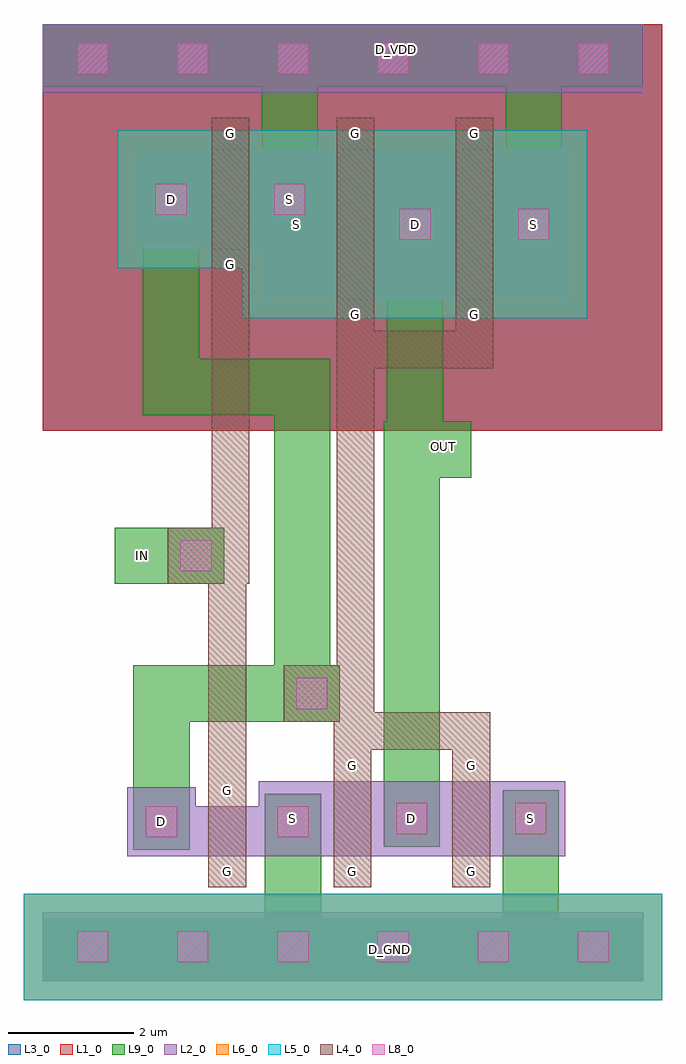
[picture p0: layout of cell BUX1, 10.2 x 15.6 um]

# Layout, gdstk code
import gdstk
lib = gdstk.Library(unit=1e-6, precision=1e-09)
def R(c, l, rs):  # rectangles x0, y0, x1, y1
    for r in rs: c.add(gdstk.rectangle(r[:2], r[2:], *l))
def A(c, l, x, y, w, h, nx, ny, dx, dy):  # array of equal rectangles
    R(c, l, [(x+i*dx, y+j*dy, x+i*dx+w, y+j*dy+h) for i in range(nx) for j in range(ny)])
def P(c, l, *ps):  # polygons
    for p in ps: c.add(gdstk.Polygon(p, *l))
L1_0 = (1, 0)
L2_0 = (2, 0)
L3_0 = (3, 0)
L4_0 = (4, 0)
L5_0 = (5, 0)
L6_0 = (6, 0)
L8_0 = (8, 0)
L9_0 = (9, 0)

bux1 = lib.new_cell('BUX1')
A(bux1, L1_0, 0, 8.8, 1.6, 6.5, 3, 1, 1.6, 0)
R(bux1, L1_0, [(4.8,8.8,9.9,15.3), (6.4,8.8,8,15.3), (8,8.8,9.6,15.3), (2,9.4,8,14.8), (3.9,9.4,9.9,14.8), (0,10.2,6,14.8)])
A(bux1, L2_0, 0, 0, 1.6, 1.1, 6, 2, 1.6, 14.2)
R(bux1, L2_0, [(1.35,2,2.45,3.1), (2.45,2,3.45,2.8), (3.45,2,4.55,3.2), (3.45,2,4.55,3.1), (4.55,2,5.35,3.2), (5.35,2,6.45,3.2), (5.35,2,6.45,3.2), (6.45,2,7.25,3.2), (7.25,2,8.35,3.2), (3.5,10.9,4.6,13.3), (4.6,10.9,5.4,13.3), (5.4,10.9,6.5,13.3), (5.4,10.9,6.5,13.3), (6.5,10.9,7.3,13.3), (7.3,10.9,8.4,13.3), (1.5,11.7,2.6,13.3), (2.6,11.7,3.4,13.3), (3.4,11.7,4.5,13.3)])
A(bux1, L3_0, 0, 8.8, 1.6, 6.5, 3, 1, 1.6, 0)
R(bux1, L3_0, [(4.8,8.8,9.9,15.3), (6.4,8.8,8,15.3), (8,8.8,9.6,15.3), (2,9.4,8,14.8), (3.9,9.4,9.9,14.8), (0,10.2,6,14.8)])
R(bux1, L4_0, [(2.65,1.5,3.25,2), (2.65,1.5,3.25,3.3), (4.65,1.5,5.25,2), (4.65,1.5,5.25,3.7), (6.55,1.5,7.15,2), (6.55,1.5,7.15,3.7), (2.65,2.8,3.25,3.3), (4.65,3.2,5.25,3.7), (6.55,3.2,7.15,3.7), (2.65,3.3,3.25,7.25), (3.85,4.15,4.75,5.05), (4.7,4.15,5.3,10.4), (2,6.35,2.9,7.25), (2.7,6.35,3.3,11.2), (5.3,9.8,7.2,10.4), (4.7,10.4,5.3,13.8), (4.7,10.4,5.3,10.9), (6.6,10.4,7.2,13.8), (6.6,10.4,7.2,10.9), (2.7,11.2,3.3,11.7), (2.7,11.2,3.3,13.8), (2.7,13.3,3.3,13.8), (4.7,13.3,5.3,13.8), (6.6,13.3,7.2,13.8)])
P(bux1, L4_0, [(4.65,3.7),(7.15,3.7),(7.15,4.3),(5.25,4.3),(5.25,5.05),(4.65,5.05)])
R(bux1, L5_0, [(-0.3,-0.3,1.6,1.4), (1.6,-0.3,3.2,1.4), (3.2,-0.3,4.8,1.4), (4.8,-0.3,6.7,1.4), (6.4,-0.3,8,1.4), (8,-0.3,9.9,1.4), (3.2,10.6,6.8,13.6), (5.1,10.6,8.7,13.6), (1.2,11.4,4.8,13.6)])
R(bux1, L6_0, [(-0.3,-0.3,1.6,1.4), (1.6,-0.3,3.2,1.4), (3.2,-0.3,4.8,1.4), (4.8,-0.3,6.7,1.4), (6.4,-0.3,8,1.4), (8,-0.3,9.9,1.4), (3.2,10.6,6.8,13.6), (5.1,10.6,8.7,13.6), (1.2,11.4,4.8,13.6)])
A(bux1, L8_0, 0.55, 0.3, 0.5, 0.5, 6, 2, 1.6, 14.2)
R(bux1, L8_0, [(1.65,2.3,2.15,2.8), (3.75,2.3,4.25,2.8), (5.65,2.35,6.15,2.85), (5.65,2.35,6.15,2.85), (7.55,2.35,8.05,2.85), (4.05,4.35,4.55,4.85), (2.2,6.55,2.7,7.05), (5.7,11.85,6.2,12.35), (5.7,11.85,6.2,12.35), (7.6,11.85,8.1,12.35), (1.8,12.25,2.3,12.75), (3.7,12.25,4.2,12.75)])
A(bux1, L9_0, 0, 0, 1.6, 1, 6, 2, 1.6, 14.3)
R(bux1, L9_0, [(5.1,0.05,6,0.95), (3.55,0.1,4.45,3), (1.45,2.1,2.35,3), (3.55,2.1,4.45,3), (5.45,2.15,6.35,3.05), (5.45,2.15,6.35,3.05), (5.45,2.15,6.35,8.95), (7.35,2.15,8.25,3.05), (3.85,4.15,4.75,5.05), (1.15,6.35,2.05,7.25), (2,6.35,2.9,7.25), (5.95,8.05,6.85,8.95), (5.5,11.4,6.4,12.8), (5.5,11.4,6.4,12.8), (7.4,11.4,8.3,12.8), (1.6,12,2.5,13), (3.5,12,4.4,13), (3.5,12.1,4.4,15.2), (5.15,14.4,6.05,15.3)])
P(bux1, L9_0, [(1.6,9.05),(3.7,9.05),(3.7,4.15),(4.6,4.15),(4.6,9.95),(2.5,9.95),(2.5,12.9),(1.6,12.9)],
  [(7.35,0.1),(8.9,0.1),(8.9,1),(8.25,1),(8.25,3.05),(7.35,3.05)],
  [(5.5,8.05),(6.85,8.05),(6.85,8.95),(6.4,8.95),(6.4,12.3),(5.5,12.3)],
  [(1.45,2.1),(2.35,2.1),(2.35,4.15),(4.75,4.15),(4.75,5.05),(1.45,5.05)],
  [(7.4,11.9),(8.3,11.9),(8.3,14.3),(9,14.3),(9,15.2),(7.4,15.2)])
bux1.add(gdstk.Label('G', (6.9,10.652), layer=4, texttype=0))
bux1.add(gdstk.Label('G', (6.9,13.552), layer=4, texttype=0))
bux1.add(gdstk.Label('S', (7.851,12.101), layer=9, texttype=0))
bux1.add(gdstk.Label('D', (5.951,12.101), layer=9, texttype=0))
bux1.add(gdstk.Label('G', (5,10.652), layer=4, texttype=0))
bux1.add(gdstk.Label('G', (5,13.552), layer=4, texttype=0))
bux1.add(gdstk.Label('S', (4.049,12.101), layer=2, texttype=0))
bux1.add(gdstk.Label('D', (5.949,12.101), layer=9, texttype=0))
bux1.add(gdstk.Label('G', (6.85,1.752), layer=4, texttype=0))
bux1.add(gdstk.Label('G', (6.85,3.452), layer=4, texttype=0))
bux1.add(gdstk.Label('S', (7.801,2.601), layer=9, texttype=0))
bux1.add(gdstk.Label('D', (5.901,2.601), layer=9, texttype=0))
bux1.add(gdstk.Label('G', (4.95,1.752), layer=4, texttype=0))
bux1.add(gdstk.Label('G', (4.95,3.452), layer=4, texttype=0))
bux1.add(gdstk.Label('S', (3.999,2.601), layer=2, texttype=0))
bux1.add(gdstk.Label('D', (5.899,2.601), layer=9, texttype=0))
bux1.add(gdstk.Label('G', (3,11.452), layer=4, texttype=0))
bux1.add(gdstk.Label('G', (3,13.552), layer=4, texttype=0))
bux1.add(gdstk.Label('S', (3.951,12.501), layer=9, texttype=0))
bux1.add(gdstk.Label('D', (2.051,12.501), layer=9, texttype=0))
bux1.add(gdstk.Label('G', (2.95,1.752), layer=4, texttype=0))
bux1.add(gdstk.Label('G', (2.95,3.052), layer=4, texttype=0))
bux1.add(gdstk.Label('S', (4.001,2.551), layer=9, texttype=0))
bux1.add(gdstk.Label('D', (1.901,2.551), layer=9, texttype=0))
bux1.add(gdstk.Label('D_VDD', (5.65,14.9), layer=50, texttype=0))
bux1.add(gdstk.Label('D_GND', (5.55,0.5), layer=50, texttype=0))
bux1.add(gdstk.Label('IN', (1.6,6.8), layer=50, texttype=0))
bux1.add(gdstk.Label('OUT', (6.4,8.55), layer=50, texttype=0))

lib.write_gds('BUX1.gds')
